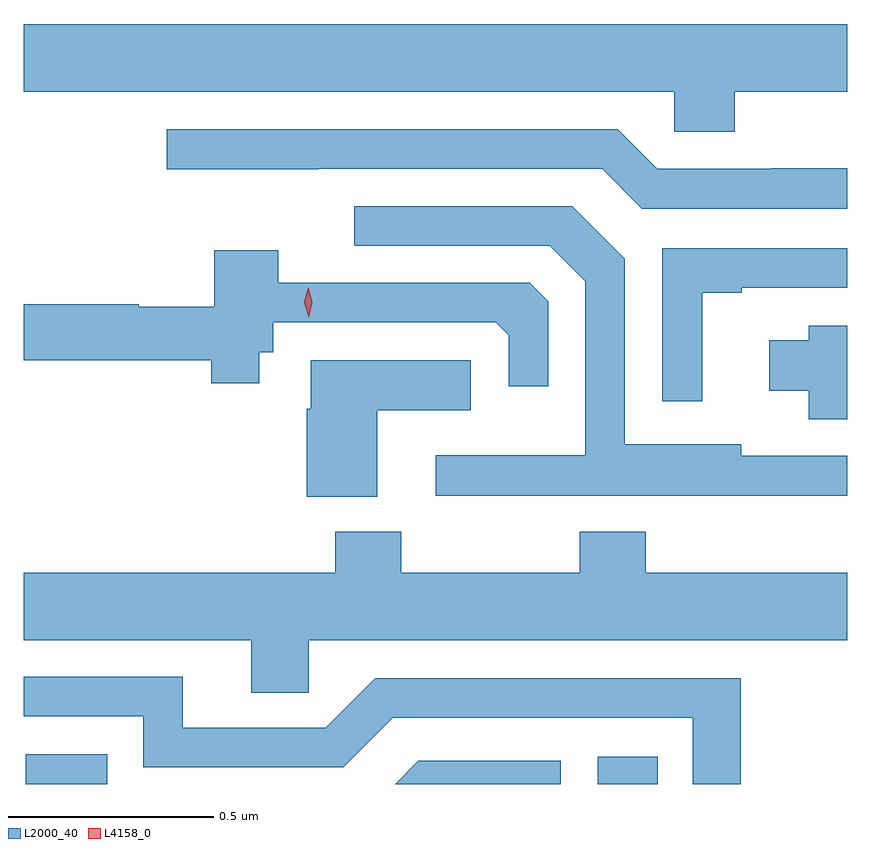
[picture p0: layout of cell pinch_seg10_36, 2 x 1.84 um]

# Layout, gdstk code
import gdstk
lib = gdstk.Library(unit=1e-6, precision=1e-09)
def R(c, l, rs):  # rectangles x0, y0, x1, y1
    for r in rs: c.add(gdstk.rectangle(r[:2], r[2:], *l))
def P(c, l, *ps):  # polygons
    for p in ps: c.add(gdstk.Polygon(p, *l))
L2000_40 = (2000, 40)
L4158_0 = (4158, 0)

pinch_seg10_36 = lib.new_cell('pinch_seg10_36')
R(pinch_seg10_36, L2000_40, [(903.021,1277.323,903.219,1277.395), (904.41,1277.323,904.556,1277.389)])
P(pinch_seg10_36, L2000_40, [(904.743,1279.004),(905.016,1279.004),(905.016,1279.168),(903.016,1279.168),(903.016,1279.004),(904.596,1279.004),(904.596,1278.906),(904.743,1278.906)],
  [(905.016,1278.818),(904.831,1278.818),(904.831,1278.816),(904.554,1278.816),(904.458,1278.912),(903.363,1278.912),(903.363,1278.815),(903.731,1278.815),(903.731,1278.816),(904.421,1278.816),(904.517,1278.72),(905.016,1278.72)],
  [(905.016,1278.12),(904.758,1278.12),(904.758,1278.148),(904.476,1278.148),(904.476,1278.598),(904.348,1278.726),(903.819,1278.726),(903.819,1278.63),(904.293,1278.63),(904.38,1278.543),(904.38,1278.121),(904.017,1278.121),(904.017,1278.023),(905.016,1278.023)],
  [(904.663,1278.516),(904.759,1278.516),(904.759,1278.528),(905.016,1278.528),(905.016,1278.624),(904.566,1278.624),(904.566,1278.252),(904.663,1278.252)],
  [(904.29,1278.495),(904.245,1278.54),(903.634,1278.54),(903.634,1278.619),(903.479,1278.619),(903.479,1278.481),(903.295,1278.481),(903.295,1278.488),(903.016,1278.488),(903.016,1278.352),(903.472,1278.352),(903.472,1278.296),(903.588,1278.296),(903.588,1278.371),(903.622,1278.371),(903.622,1278.444),(904.162,1278.444),(904.194,1278.412),(904.194,1278.288),(904.29,1278.288)],
  [(905.016,1278.436),(904.922,1278.436),(904.922,1278.4),(904.826,1278.4),(904.826,1278.278),(904.922,1278.278),(904.922,1278.209),(905.016,1278.209)],
  [(903.874,1278.23),(904.102,1278.23),(904.102,1278.352),(903.713,1278.352),(903.713,1278.234),(903.704,1278.234),(903.704,1278.02),(903.874,1278.02)],
  [(903.708,1277.672),(905.016,1277.672),(905.016,1277.836),(904.526,1277.836),(904.526,1277.935),(904.366,1277.935),(904.366,1277.836),(903.933,1277.836),(903.933,1277.935),(903.773,1277.935),(903.773,1277.836),(903.016,1277.836),(903.016,1277.672),(903.569,1277.672),(903.569,1277.545),(903.708,1277.545)],
  [(904.757,1277.58),(903.87,1277.58),(903.75,1277.46),(903.403,1277.46),(903.403,1277.583),(903.016,1277.583),(903.016,1277.487),(903.306,1277.487),(903.306,1277.364),(903.792,1277.364),(903.912,1277.484),(904.641,1277.484),(904.641,1277.323),(904.757,1277.323)],
  [(904.32,1277.379),(903.974,1277.379),(903.918,1277.323),(904.32,1277.323)])
P(pinch_seg10_36, L4158_0, [(903.708,1278.456),(903.708,1278.456),(903.697,1278.492),(903.707,1278.528),(903.707,1278.528),(903.707,1278.528),(903.717,1278.492),(903.708,1278.456)])

lib.write_gds('pinch_seg10_36.gds')
